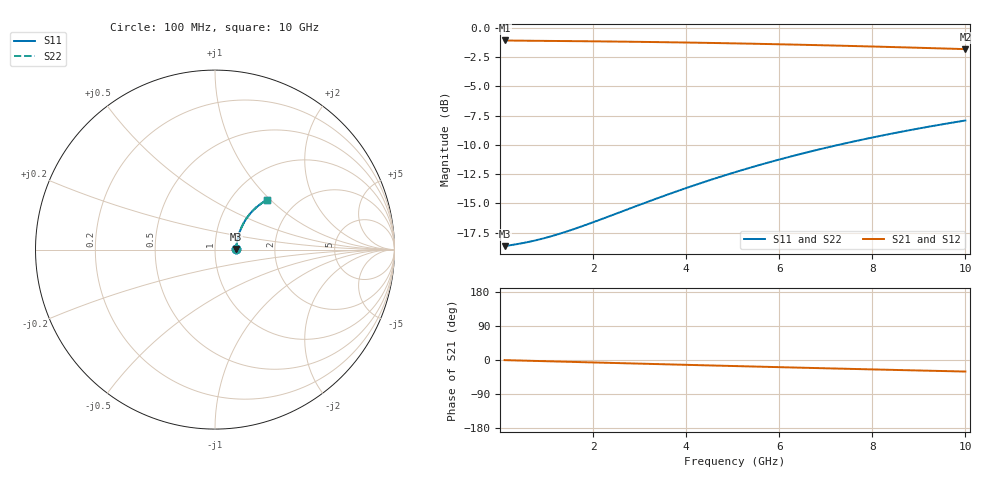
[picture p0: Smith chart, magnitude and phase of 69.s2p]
# Hz S RI R 50.00
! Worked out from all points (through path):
!   100 points, 100 MHz to 10 GHz, reference 50 ohm
!   highest |S21| = -1.08 dB at 100 MHz (marker M1); lowest = -1.8 dB at 10 GHz (marker M2)
!   group delay of S21, straight-line fit = 8.49 ps
!   lowest |S11| = -18.7 dB at 100 MHz (marker M3), VSWR 1.26, Z = 63.2 + j0.468 ohm
!   |S11| at or under -10 dB: start of sweep to 7.277 GHz
!   |S22| runs from -18.7 to -7.9 dB; largest |S21 - S12| = 0
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1e8  0.1166 0.00365  0.8834 -0.00498  0.8834 -0.00498  0.1166 0.00365
5e8  0.119 0.0181  0.881 -0.0248  0.881 -0.0248  0.119 0.0181
7e8  0.12 0.0253  0.8799 -0.0347  0.8799 -0.0347  0.12 0.0253
9e8  0.1211 0.0325  0.8788 -0.0445  0.8788 -0.0445  0.1211 0.0325
1.1e9  0.1223 0.0397  0.8776 -0.0543  0.8776 -0.0543  0.1223 0.0397
1.3e9  0.1236 0.0468  0.8762 -0.0641  0.8762 -0.0641  0.1236 0.0468
1.8e9  0.1274 0.0644  0.8722 -0.0883  0.8722 -0.0883  0.1274 0.0644
2.6e9  0.1353 0.0919  0.8641 -0.1265  0.8641 -0.1265  0.1353 0.0919
3.4e9  0.1453 0.1184  0.8536 -0.1637  0.8536 -0.1637  0.1453 0.1184
3.9e9  0.1526 0.1344  0.8459 -0.1864  0.8459 -0.1864  0.1526 0.1344
4.3e9  0.1591 0.1468  0.8391 -0.2041  0.8391 -0.2041  0.1591 0.1468
4.7e9  0.166 0.1589  0.8319 -0.2216  0.8319 -0.2216  0.166 0.1589
5.1e9  0.1734 0.1705  0.8241 -0.2386  0.8241 -0.2386  0.1734 0.1705
5.5e9  0.1812 0.1818  0.8159 -0.2552  0.8159 -0.2552  0.1812 0.1818
5.9e9  0.1894 0.1927  0.8072 -0.2714  0.8072 -0.2714  0.1894 0.1927
6.3e9  0.1981 0.2031  0.7981 -0.2872  0.7981 -0.2872  0.1981 0.2031
6.7e9  0.2071 0.213  0.7887 -0.3026  0.7887 -0.3026  0.2071 0.213
7.5e9  0.226 0.2316  0.7686 -0.3319  0.7686 -0.3319  0.226 0.2316
7.9e9  0.2359 0.2401  0.7582 -0.3459  0.7582 -0.3459  0.2359 0.2401
8.4e9  0.2486 0.2501  0.7447 -0.3626  0.7447 -0.3626  0.2486 0.2501
9.2e9  0.2696 0.2645  0.7223 -0.3879  0.7223 -0.3879  0.2696 0.2645
1e10  0.2912 0.2769  0.6991 -0.4113  0.6991 -0.4113  0.2912 0.2769
